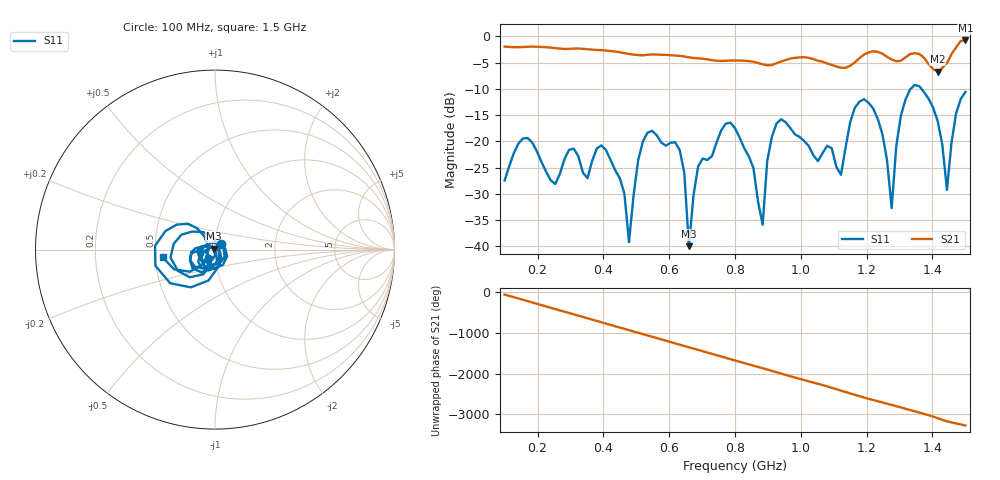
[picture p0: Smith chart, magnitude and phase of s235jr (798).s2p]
! NanoVNA-App
! Date: 2025-09-25 15:10:23
! Start: 100MHz Stop: 1,5GHz Points: 101
! S-Parameter data: F S11 S21 S12 S22
# Hz S RI R 50
!  Frequency  S11_Real  S11_Imag  S21_Real  S21_Imag  S12_Real  S12_Imag  S22_Real  S22_Imag
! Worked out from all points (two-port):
!   101 points, 100 MHz to 1.5 GHz, reference 50 ohm
!   highest |S21| = -0.80 dB at 1.5 GHz (marker M1); lowest = -6.7 dB at 1.416 GHz (marker M2)
!   |S21| within 3 dB of the highest: start of sweep to 638.8 MHz; 1.186 GHz to 1.259 GHz (73.51 MHz wide, 6.01 % of centre) (the widest 2 of 4)
!   lowest |S11| = -40.0 dB at 660 MHz (marker M3), VSWR 1.02, Z = 49.2 + j0.571 ohm
!   |S11| at or under -10 dB: start of sweep to 1.334 GHz; 1.366 GHz to end of sweep
!   S12 and S22 are empty: the file has one direction only
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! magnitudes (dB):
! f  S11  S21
! 100 MHz  -27.5  -2.0
! 156 MHz  -19.5  -2.0
! 338 MHz  -26.0  -2.4
! 408 MHz  -21.7  -2.7
! 478 MHz  -39.2  -3.4
! 520 MHz  -20.1  -3.6
! 576 MHz  -20.2  -3.5
! 632 MHz  -21.7  -3.7
! 660 MHz  -40.0  -4.0
! 688 MHz  -24.8  -4.2
! 800 MHz  -17.5  -4.6
! 884 MHz  -35.9  -5.3
! 926 MHz  -16.6  -5.1
! 1.038 GHz  -22.7  -4.3
! 1.122 GHz  -26.4  -6.0
! 1.192 GHz  -12.0  -3.5
! 1.248 GHz  -18.7  -3.3
! 1.276 GHz  -32.7  -4.4
! 1.332 GHz  -10.1  -3.4
! 1.416 GHz  -16.2  -6.7
! 1.444 GHz  -29.2  -5.1
! 1.5 GHz  -10.6  -0.8
